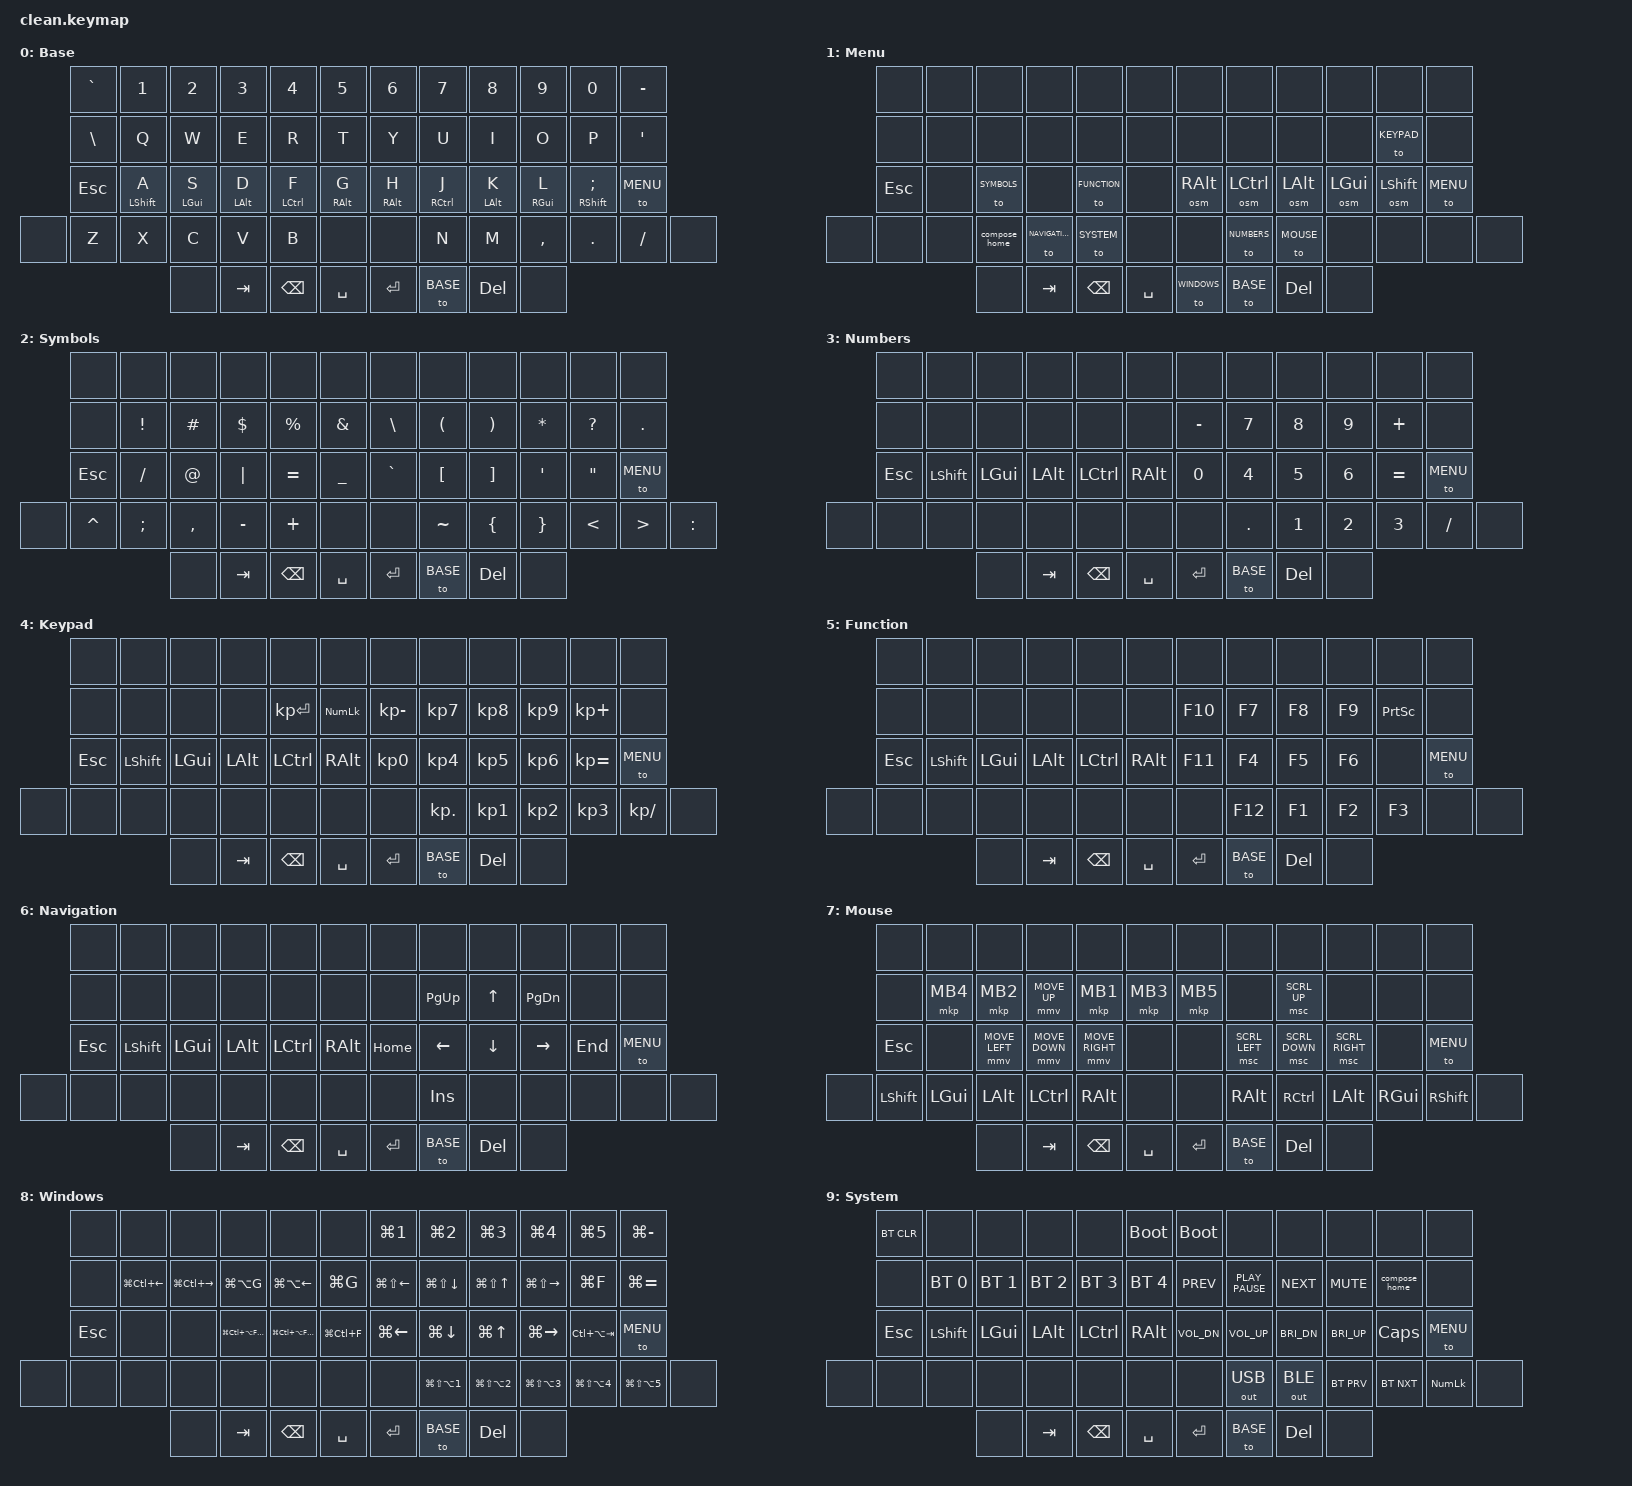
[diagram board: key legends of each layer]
/*
 * Clean Lily58: QWERTY, persistent layers, home row and one-shot modifiers.
 * Position names and design: docs/key-positions.md and docs/keymap-draft.md.
 * Every layer explicitly includes the same Escape/menu/thumb anchors.
 */

// Twice ZMK v0.3's default pointer (600) and scroll (10) speeds.
#define ZMK_POINTING_DEFAULT_MOVE_VAL 1200
#define ZMK_POINTING_DEFAULT_SCRL_VAL 20

#include <behaviors.dtsi>
#include <dt-bindings/zmk/bt.h>
#include <dt-bindings/zmk/keys.h>
#include <dt-bindings/zmk/outputs.h>
#include <dt-bindings/zmk/pointing.h>

#define BASE        0
#define MENU        1
#define SYMBOLS     2
#define NUMBERS     3
#define KEYPAD      4
#define FUNCTION    5
#define NAVIGATION  6
#define MOUSE       7
#define WINDOWS     8
#define SYSTEM      9

/ {
    behaviors {
        hml: home_row_left {
            compatible = "zmk,behavior-hold-tap";
            display-name = "Left Home Row Mod";
            #binding-cells = <2>;
            flavor = "balanced";
            tapping-term-ms = <280>;
            require-prior-idle-ms = <150>;
            quick-tap-ms = <175>;
            bindings = <&kp>, <&kp>;
            // All right-half positions, including the inner key and thumbs.
            hold-trigger-key-positions = <6 7 8 9 10 11 18 19 20 21 22 23 30 31 32 33 34 35 43 44 45 46 47 48 49 54 55 56 57>;
            hold-trigger-on-release;
        };

        hmr: home_row_right {
            compatible = "zmk,behavior-hold-tap";
            display-name = "Right Home Row Mod";
            #binding-cells = <2>;
            flavor = "balanced";
            tapping-term-ms = <280>;
            require-prior-idle-ms = <150>;
            quick-tap-ms = <175>;
            bindings = <&kp>, <&kp>;
            // All left-half positions, including the inner key and thumbs.
            hold-trigger-key-positions = <0 1 2 3 4 5 12 13 14 15 16 17 24 25 26 27 28 29 36 37 38 39 40 41 42 50 51 52 53>;
            hold-trigger-on-release;
        };

        osm: one_shot_modifier {
            compatible = "zmk,behavior-sticky-key";
            display-name = "One-Shot Modifier";
            #binding-cells = <1>;
            bindings = <&kp>;
            release-after-ms = <5000>;
            lazy;
            ignore-modifiers;
        };
    };

    macros {
        compose_home: compose_then_base {
            compatible = "zmk,behavior-macro";
            display-name = "Compose then Base";
            #binding-cells = <0>;
            wait-ms = <0>;
            tap-ms = <10>;
            bindings = <&kp K_APP>, <&to BASE>;
        };
    };

    keymap {
        compatible = "zmk,keymap";

        // 0: Base
        base_layer {
            label = "Base";
            bindings = <
                &kp GRAVE  &kp N1  &kp N2  &kp N3  &kp N4  &kp N5  &kp N6  &kp N7  &kp N8  &kp N9  &kp N0  &kp MINUS
                &kp BSLH  &kp Q  &kp W  &kp E  &kp R  &kp T  &kp Y  &kp U  &kp I  &kp O  &kp P  &kp APOS
                &kp ESC  &hml LSHFT A  &hml LGUI S  &hml LALT D  &hml LCTRL F  &hml RALT G  &hmr RALT H  &hmr RCTRL J  &hmr LALT K  &hmr RGUI L  &hmr RSHFT SEMI  &to MENU
                &none  &kp Z  &kp X  &kp C  &kp V  &kp B  &none  &none  &kp N  &kp M  &kp COMMA  &kp DOT  &kp FSLH  &none
                                    &none  &kp TAB  &kp BSPC  &kp SPACE  &kp ENTER  &to BASE  &kp DEL  &none
            >;
        };

        // 1: Menu
        menu_layer {
            label = "Menu";
            bindings = <
                &none  &none  &none  &none  &none  &none  &none  &none  &none  &none  &none  &none
                &none  &none  &none  &none  &none  &none  &none  &none  &none  &none  &to KEYPAD  &none
                &kp ESC  &none  &to SYMBOLS  &none  &to FUNCTION  &none  &osm RALT  &osm LCTRL  &osm LALT  &osm LGUI  &osm LSHFT  &to MENU
                &none  &none  &none  &compose_home  &to NAVIGATION  &to SYSTEM  &none  &none  &to NUMBERS  &to MOUSE  &none  &none  &none  &none
                                    &none  &kp TAB  &kp BSPC  &kp SPACE  &to WINDOWS  &to BASE  &kp DEL  &none
            >;
        };

        // 2: Symbols
        symbols_layer {
            label = "Symbols";
            bindings = <
                &none  &none  &none  &none  &none  &none  &none  &none  &none  &none  &none  &none
                &none  &kp EXCL  &kp HASH  &kp DLLR  &kp PRCNT  &kp AMPS  &kp BSLH  &kp LPAR  &kp RPAR  &kp ASTERISK  &kp QMARK  &kp DOT
                &kp ESC  &kp FSLH  &kp AT  &kp PIPE  &kp EQUAL  &kp UNDER  &kp GRAVE  &kp LBKT  &kp RBKT  &kp APOS  &kp DQT  &to MENU
                &none  &kp CARET  &kp SEMI  &kp COMMA  &kp MINUS  &kp PLUS  &none  &none  &kp TILDE  &kp LBRC  &kp RBRC  &kp LESS_THAN  &kp GREATER_THAN  &kp COLON
                                    &none  &kp TAB  &kp BSPC  &kp SPACE  &kp ENTER  &to BASE  &kp DEL  &none
            >;
        };

        // 3: Numbers
        numbers_layer {
            label = "Numbers";
            bindings = <
                &none  &none  &none  &none  &none  &none  &none  &none  &none  &none  &none  &none
                &none  &none  &none  &none  &none  &none  &kp MINUS  &kp N7  &kp N8  &kp N9  &kp PLUS  &none
                &kp ESC  &kp LSHFT  &kp LGUI  &kp LALT  &kp LCTRL  &kp RALT  &kp N0  &kp N4  &kp N5  &kp N6  &kp EQUAL  &to MENU
                &none  &none  &none  &none  &none  &none  &none  &none  &kp DOT  &kp N1  &kp N2  &kp N3  &kp FSLH  &none
                                    &none  &kp TAB  &kp BSPC  &kp SPACE  &kp ENTER  &to BASE  &kp DEL  &none
            >;
        };

        // 4: Keypad
        keypad_layer {
            label = "Keypad";
            bindings = <
                &none  &none  &none  &none  &none  &none  &none  &none  &none  &none  &none  &none
                &none  &none  &none  &none  &kp KP_ENTER  &kp KP_NLCK  &kp KP_MINUS  &kp KP_N7  &kp KP_N8  &kp KP_N9  &kp KP_PLUS  &none
                &kp ESC  &kp LSHFT  &kp LGUI  &kp LALT  &kp LCTRL  &kp RALT  &kp KP_N0  &kp KP_N4  &kp KP_N5  &kp KP_N6  &kp KP_EQUAL  &to MENU
                &none  &none  &none  &none  &none  &none  &none  &none  &kp KP_DOT  &kp KP_N1  &kp KP_N2  &kp KP_N3  &kp KP_DIVIDE  &none
                                    &none  &kp TAB  &kp BSPC  &kp SPACE  &kp ENTER  &to BASE  &kp DEL  &none
            >;
        };

        // 5: Function
        function_layer {
            label = "Function";
            bindings = <
                &none  &none  &none  &none  &none  &none  &none  &none  &none  &none  &none  &none
                &none  &none  &none  &none  &none  &none  &kp F10  &kp F7  &kp F8  &kp F9  &kp PSCRN  &none
                &kp ESC  &kp LSHFT  &kp LGUI  &kp LALT  &kp LCTRL  &kp RALT  &kp F11  &kp F4  &kp F5  &kp F6  &none  &to MENU
                &none  &none  &none  &none  &none  &none  &none  &none  &kp F12  &kp F1  &kp F2  &kp F3  &none  &none
                                    &none  &kp TAB  &kp BSPC  &kp SPACE  &kp ENTER  &to BASE  &kp DEL  &none
            >;
        };

        // 6: Navigation
        navigation_layer {
            label = "Navigation";
            bindings = <
                &none  &none  &none  &none  &none  &none  &none  &none  &none  &none  &none  &none
                &none  &none  &none  &none  &none  &none  &none  &kp PG_UP  &kp UP  &kp PG_DN  &none  &none
                &kp ESC  &kp LSHFT  &kp LGUI  &kp LALT  &kp LCTRL  &kp RALT  &kp HOME  &kp LEFT  &kp DOWN  &kp RIGHT  &kp END  &to MENU
                &none  &none  &none  &none  &none  &none  &none  &none  &kp INS  &none  &none  &none  &none  &none
                                    &none  &kp TAB  &kp BSPC  &kp SPACE  &kp ENTER  &to BASE  &kp DEL  &none
            >;
        };

        // 7: Mouse
        mouse_layer {
            label = "Mouse";
            bindings = <
                &none  &none  &none  &none  &none  &none  &none  &none  &none  &none  &none  &none
                &none  &mkp MB4  &mkp MB2  &mmv MOVE_UP  &mkp MB1  &mkp MB3  &mkp MB5  &none  &msc SCRL_UP  &none  &none  &none
                &kp ESC  &none  &mmv MOVE_LEFT  &mmv MOVE_DOWN  &mmv MOVE_RIGHT  &none  &none  &msc SCRL_LEFT  &msc SCRL_DOWN  &msc SCRL_RIGHT  &none  &to MENU
                &none  &kp LSHFT  &kp LGUI  &kp LALT  &kp LCTRL  &kp RALT  &none  &none  &kp RALT  &kp RCTRL  &kp LALT  &kp RGUI  &kp RSHFT  &none
                                    &none  &kp TAB  &kp BSPC  &kp SPACE  &kp ENTER  &to BASE  &kp DEL  &none
            >;
        };

        // 8: Windows
        windows_layer {
            label = "Windows";
            bindings = <
                &none  &none  &none  &none  &none  &none  &kp LG(N1)  &kp LG(N2)  &kp LG(N3)  &kp LG(N4)  &kp LG(N5)  &kp LG(MINUS)
                &none  &kp LG(LC(LEFT))  &kp LG(LC(RIGHT))  &kp LG(LA(G))  &kp LG(LA(LEFT))  &kp LG(G)  &kp LG(LS(LEFT))  &kp LG(LS(DOWN))  &kp LG(LS(UP))  &kp LG(LS(RIGHT))  &kp LG(F)  &kp LG(EQUAL)
                &kp ESC  &none  &none  &kp LG(LC(LA(F14)))  &kp LG(LC(LA(F13)))  &kp LG(LC(F))  &kp LG(LEFT)  &kp LG(DOWN)  &kp LG(UP)  &kp LG(RIGHT)  &kp LC(LA(TAB))  &to MENU
                &none  &none  &none  &none  &none  &none  &none  &none  &kp LG(LS(LA(N1)))  &kp LG(LS(LA(N2)))  &kp LG(LS(LA(N3)))  &kp LG(LS(LA(N4)))  &kp LG(LS(LA(N5)))  &none
                                    &none  &kp TAB  &kp BSPC  &kp SPACE  &kp ENTER  &to BASE  &kp DEL  &none
            >;
        };

        // 9: System
        system_layer {
            label = "System";
            bindings = <
                &bt BT_CLR  &none  &none  &none  &none  &bootloader  &bootloader  &none  &none  &none  &none  &none
                &none  &bt BT_SEL 0  &bt BT_SEL 1  &bt BT_SEL 2  &bt BT_SEL 3  &bt BT_SEL 4  &kp K_PREV  &kp K_PLAY_PAUSE  &kp K_NEXT  &kp K_MUTE  &compose_home  &none
                &kp ESC  &kp LSHFT  &kp LGUI  &kp LALT  &kp LCTRL  &kp RALT  &kp K_VOL_DN  &kp K_VOL_UP  &kp C_BRI_DN  &kp C_BRI_UP  &kp CAPS  &to MENU
                &none  &none  &none  &none  &none  &none  &none  &none  &out OUT_USB  &out OUT_BLE  &bt BT_PRV  &bt BT_NXT  &kp KP_NLCK  &none
                                    &none  &kp TAB  &kp BSPC  &kp SPACE  &kp ENTER  &to BASE  &kp DEL  &none
            >;
        };
    };
};
